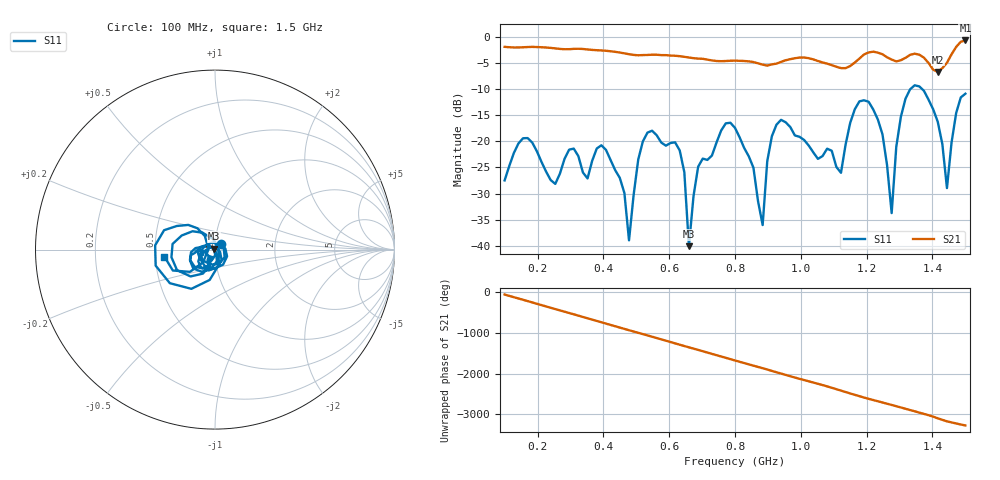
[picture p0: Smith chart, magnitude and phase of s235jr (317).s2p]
! NanoVNA-App
! Date: 2025-09-25 15:06:38
! Start: 100MHz Stop: 1,5GHz Points: 101
! S-Parameter data: F S11 S21 S12 S22
# Hz S RI R 50
!  Frequency  S11_Real  S11_Imag  S21_Real  S21_Imag  S12_Real  S12_Imag  S22_Real  S22_Imag
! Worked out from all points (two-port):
!   101 points, 100 MHz to 1.5 GHz, reference 50 ohm
!   highest |S21| = -0.74 dB at 1.5 GHz (marker M1); lowest = -6.7 dB at 1.416 GHz (marker M2)
!   |S21| within 3 dB of the highest: start of sweep to 632 MHz; 1.186 GHz to 1.257 GHz (70.67 MHz wide, 5.79 % of centre) (the widest 2 of 4)
!   lowest |S11| = -40.0 dB at 660 MHz (marker M3), VSWR 1.02, Z = 49.2 + j0.6 ohm
!   |S11| at or under -10 dB: start of sweep to 1.333 GHz; 1.368 GHz to end of sweep
!   S12 and S22 are empty: the file has one direction only
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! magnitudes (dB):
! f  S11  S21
! 100 MHz  -27.5  -2.0
! 156 MHz  -19.4  -2.0
! 338 MHz  -26.0  -2.4
! 408 MHz  -21.6  -2.7
! 478 MHz  -38.9  -3.4
! 520 MHz  -20.0  -3.5
! 576 MHz  -20.2  -3.5
! 632 MHz  -21.7  -3.7
! 660 MHz  -40.0  -4.0
! 688 MHz  -24.9  -4.2
! 800 MHz  -17.4  -4.6
! 884 MHz  -36.0  -5.4
! 926 MHz  -16.8  -5.2
! 1.038 GHz  -22.1  -4.4
! 1.122 GHz  -26.0  -6.0
! 1.206 GHz  -12.5  -3.0
! 1.276 GHz  -33.7  -4.4
! 1.29 GHz  -21.1  -4.8
! 1.332 GHz  -10.1  -3.5
! 1.416 GHz  -16.3  -6.7
! 1.444 GHz  -28.9  -5.0
! 1.5 GHz  -10.9  -0.7
